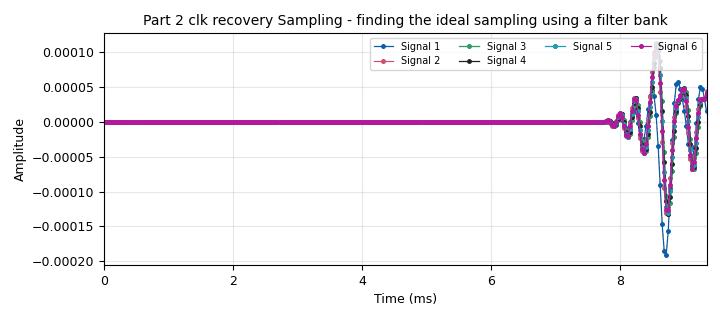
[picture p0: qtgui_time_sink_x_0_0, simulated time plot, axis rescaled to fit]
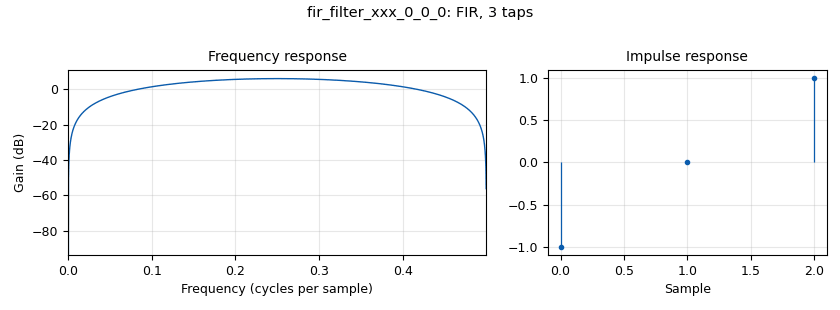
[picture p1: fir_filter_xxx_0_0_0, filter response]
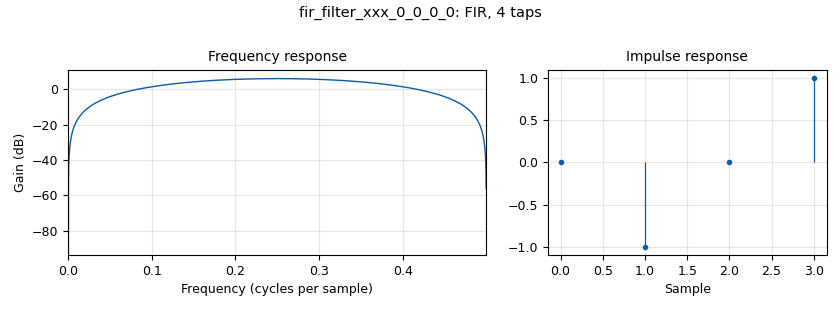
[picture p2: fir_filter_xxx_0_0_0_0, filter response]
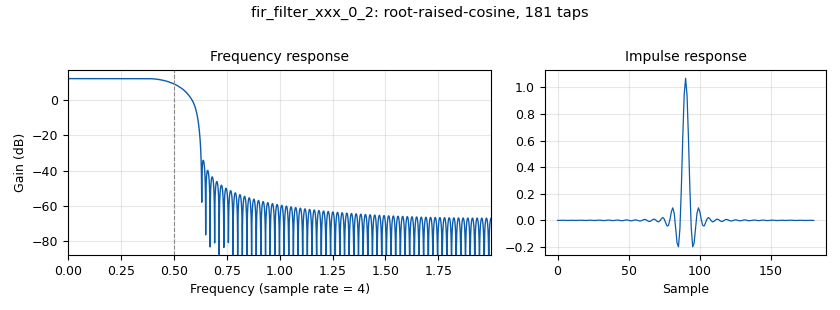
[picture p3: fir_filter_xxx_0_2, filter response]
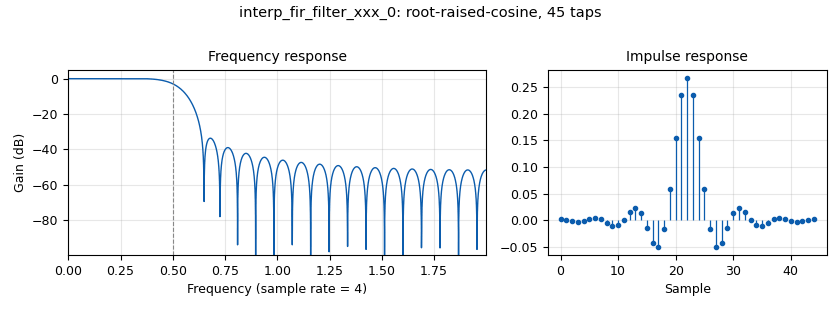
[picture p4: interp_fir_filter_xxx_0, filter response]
options:
  parameters:
    author: engineerang
    generate_options: qt_gui
    id: symbol_differential_filter_phases
    output_language: python
    title: Not titled yet
  states: {}

blocks:
- name: eb
  id: variable
  parameters:
    value: '0.25'
  states: {}
- name: ntaps
  id: variable
  parameters:
    value: '45'
  states: {}
- name: rate
  id: variable
  parameters:
    value: '1'
  states: {}
- name: rrc_rx
  id: variable
  parameters:
    value: firdes.root_raised_cosine(sps, sps, 1, eb, sps*ntaps)
  states: {}
- name: rrc_tx
  id: variable
  parameters:
    value: firdes.root_raised_cosine(1, sps, 1, eb, ntaps)
  states: {}
- name: samp_rate
  id: variable
  parameters:
    value: '32000'
  states: {}
- name: sps
  id: variable
  parameters:
    value: '4'
  states: {}
- name: blocks_delay_0_0
  id: blocks_delay
  parameters:
    delay: '1'
    type: float
  states: {}
- name: blocks_delay_0_0_0
  id: blocks_delay
  parameters:
    delay: '1'
    type: float
  states: {}
- name: blocks_delay_0_0_0_0
  id: blocks_delay
  parameters:
    delay: '1'
    type: float
  states: {}
- name: blocks_delay_0_0_0_1
  id: blocks_delay
  parameters:
    delay: '1'
    type: float
  states: {}
- name: blocks_delay_0_0_0_2
  id: blocks_delay
  parameters:
    delay: '1'
    type: float
  states: {}
- name: blocks_delay_0_0_0_3
  id: blocks_delay
  parameters:
    delay: '1'
    type: float
  states: {}
- name: blocks_throttle_0
  id: blocks_throttle
  parameters:
    samples_per_second: samp_rate
    type: float
  states: {}
- name: blocks_vector_source_x_0
  id: blocks_vector_source_x
  parameters:
    repeat: 'True'
    type: float
    vector: 49*[0,] + [1,] + 50*[0,]
  states: {}
- name: fir_filter_xxx_0_0_0
  id: fir_filter_xxx
  parameters:
    decim: '1'
    taps: (-1,0,1)
    type: fff
  states: {}
- name: fir_filter_xxx_0_0_0_0
  id: fir_filter_xxx
  parameters:
    decim: '1'
    taps: (0,-1,0,1)
    type: fff
  states: {}
- name: fir_filter_xxx_0_0_0_1
  id: fir_filter_xxx
  parameters:
    decim: '1'
    taps: (0,-1,0,1)
    type: fff
  states: {}
- name: fir_filter_xxx_0_0_0_2
  id: fir_filter_xxx
  parameters:
    decim: '1'
    taps: (0,-1,0,1)
    type: fff
  states: {}
- name: fir_filter_xxx_0_0_0_3
  id: fir_filter_xxx
  parameters:
    decim: '1'
    taps: (0,-1,0,1)
    type: fff
  states: {}
- name: fir_filter_xxx_0_2
  id: fir_filter_xxx
  parameters:
    decim: '1'
    taps: rrc_rx
    type: fff
  states: {}
- name: interp_fir_filter_xxx_0
  id: interp_fir_filter_xxx
  parameters:
    interp: sps
    taps: rrc_tx
    type: fff
  states: {}
- name: mmse_resampler_xx_0
  id: mmse_resampler_xx
  parameters:
    phase_shift: '0'
    resamp_ratio: rate
    type: float
  states: {}
- name: mmse_resampler_xx_0_1
  id: mmse_resampler_xx
  parameters:
    phase_shift: '.8'
    resamp_ratio: rate
    type: float
  states: {}
- name: mmse_resampler_xx_0_2
  id: mmse_resampler_xx
  parameters:
    phase_shift: '.6'
    resamp_ratio: rate
    type: float
  states: {}
- name: mmse_resampler_xx_0_3
  id: mmse_resampler_xx
  parameters:
    phase_shift: '0.2'
    resamp_ratio: rate
    type: float
  states: {}
- name: mmse_resampler_xx_0_4
  id: mmse_resampler_xx
  parameters:
    phase_shift: '0.4'
    resamp_ratio: rate
    type: float
  states: {}
- name: pfb_arb_resampler_xxx_0_0
  id: pfb_arb_resampler_xxx
  parameters:
    atten: '100'
    nfilts: '32'
    rrate: '1.25'
    type: fff
  states: {}
- name: qtgui_time_sink_x_0_0
  id: qtgui_time_sink_x
  parameters:
    gui_hint: 2,1,1,1
    marker1: '0'
    marker2: '0'
    marker3: '0'
    marker4: '0'
    marker5: '0'
    marker6: '0'
    name: Part 2 clk recovery Sampling - finding the ideal sampling using a filter bank
    nconnections: '6'
    size: '300'
    srate: samp_rate
    tr_mode: qtgui.TRIG_MODE_AUTO
    type: float
  states: {}

connections:
- [blocks_delay_0_0, '0', qtgui_time_sink_x_0_0, '0']
- [blocks_delay_0_0_0, '0', qtgui_time_sink_x_0_0, '1']
- [blocks_delay_0_0_0_0, '0', qtgui_time_sink_x_0_0, '4']
- [blocks_delay_0_0_0_1, '0', qtgui_time_sink_x_0_0, '3']
- [blocks_delay_0_0_0_2, '0', qtgui_time_sink_x_0_0, '5']
- [blocks_delay_0_0_0_3, '0', qtgui_time_sink_x_0_0, '2']
- [blocks_throttle_0, '0', interp_fir_filter_xxx_0, '0']
- [blocks_vector_source_x_0, '0', blocks_throttle_0, '0']
- [fir_filter_xxx_0_0_0, '0', blocks_delay_0_0_0, '0']
- [fir_filter_xxx_0_0_0_0, '0', blocks_delay_0_0_0_3, '0']
- [fir_filter_xxx_0_0_0_1, '0', blocks_delay_0_0_0_0, '0']
- [fir_filter_xxx_0_0_0_2, '0', blocks_delay_0_0_0_2, '0']
- [fir_filter_xxx_0_0_0_3, '0', blocks_delay_0_0_0_1, '0']
- [fir_filter_xxx_0_2, '0', blocks_delay_0_0, '0']
- [fir_filter_xxx_0_2, '0', mmse_resampler_xx_0, '0']
- [fir_filter_xxx_0_2, '0', mmse_resampler_xx_0_1, '0']
- [fir_filter_xxx_0_2, '0', mmse_resampler_xx_0_2, '0']
- [fir_filter_xxx_0_2, '0', mmse_resampler_xx_0_3, '0']
- [fir_filter_xxx_0_2, '0', mmse_resampler_xx_0_4, '0']
- [interp_fir_filter_xxx_0, '0', pfb_arb_resampler_xxx_0_0, '0']
- [mmse_resampler_xx_0, '0', fir_filter_xxx_0_0_0, '0']
- [mmse_resampler_xx_0_1, '0', fir_filter_xxx_0_0_0_2, '0']
- [mmse_resampler_xx_0_2, '0', fir_filter_xxx_0_0_0_1, '0']
- [mmse_resampler_xx_0_3, '0', fir_filter_xxx_0_0_0_0, '0']
- [mmse_resampler_xx_0_4, '0', fir_filter_xxx_0_0_0_3, '0']
- [pfb_arb_resampler_xxx_0_0, '0', fir_filter_xxx_0_2, '0']

metadata:
  file_format: 1
